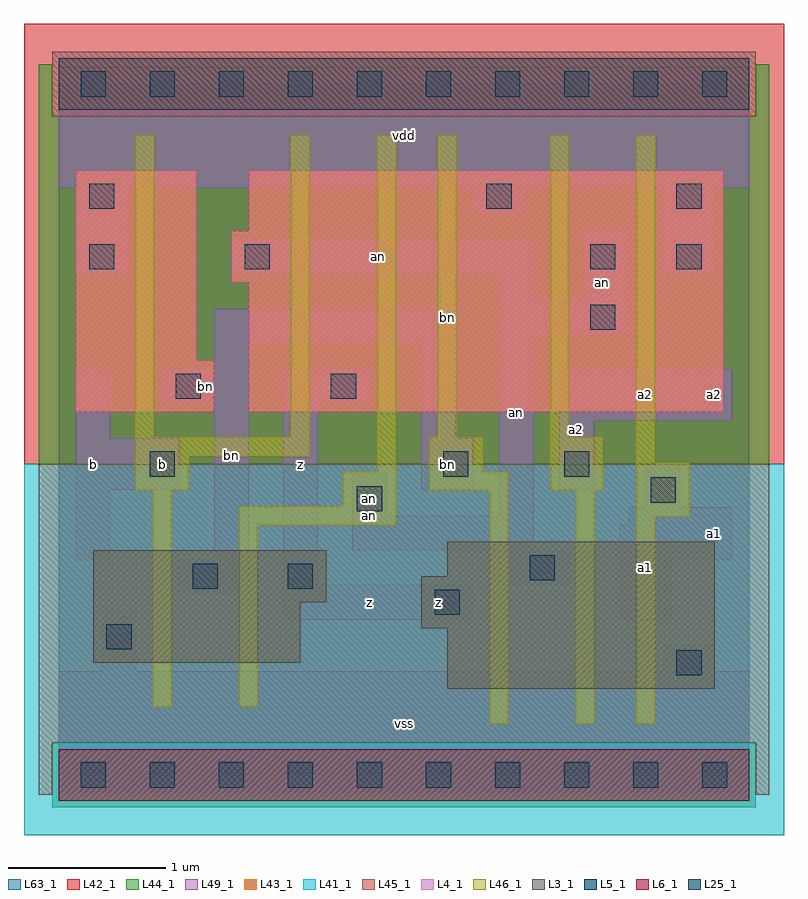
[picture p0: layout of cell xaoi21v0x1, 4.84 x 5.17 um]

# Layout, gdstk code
import gdstk
lib = gdstk.Library(unit=1e-6, precision=1e-09)
def R(c, l, rs):  # rectangles x0, y0, x1, y1
    for r in rs: c.add(gdstk.rectangle(r[:2], r[2:], *l))
def A(c, l, x, y, w, h, nx, ny, dx, dy):  # array of equal rectangles
    R(c, l, [(x+i*dx, y+j*dy, x+i*dx+w, y+j*dy+h) for i in range(nx) for j in range(ny)])
L3_1 = (3, 1)
L4_1 = (4, 1)
L5_1 = (5, 1)
L6_1 = (6, 1)
L25_1 = (25, 1)
L41_1 = (41, 1)
L42_1 = (42, 1)
L43_1 = (43, 1)
L44_1 = (44, 1)
L45_1 = (45, 1)
L46_1 = (46, 1)
L49_1 = (49, 1)
L63_1 = (63, 1)

xaoi21v0x1 = lib.new_cell('xaoi21v0x1')
R(xaoi21v0x1, L3_1, [(2.475,0.55,4.18,0.935), (0.22,0.715,1.54,1.1), (2.31,0.935,4.18,1.265), (0.22,1.1,1.705,1.43), (2.475,1.265,4.18,1.485)])
R(xaoi21v0x1, L4_1, [(0.11,2.31,0.99,2.64), (1.21,2.31,4.235,3.135), (0.11,2.64,0.88,3.85), (1.1,3.135,4.235,3.465), (1.21,3.465,4.235,3.85)])
R(xaoi21v0x1, L5_1, [(0,4.235,4.4,4.565)])
R(xaoi21v0x1, L6_1, [(0,-0.165,4.4,0.165)])
A(xaoi21v0x1, L25_1, 0.14, -0.08, 0.16, 0.16, 10, 2, 0.44, 4.4)
R(xaoi21v0x1, L25_1, [(3.935,0.635,4.095,0.795), (0.305,0.8,0.465,0.96), (2.395,1.02,2.555,1.18), (0.855,1.185,1.015,1.345), (1.46,1.185,1.62,1.345), (3,1.24,3.16,1.4), (1.9,1.68,2.06,1.84), (3.77,1.735,3.93,1.895), (0.58,1.9,0.74,2.06), (2.45,1.9,2.61,2.06), (3.22,1.9,3.38,2.06), (0.745,2.395,0.905,2.555), (1.735,2.395,1.895,2.555), (3.385,2.835,3.545,2.995), (0.195,3.22,0.355,3.38), (1.185,3.22,1.345,3.38), (3.385,3.22,3.545,3.38), (3.935,3.22,4.095,3.38), (0.195,3.605,0.355,3.765), (2.725,3.605,2.885,3.765), (3.935,3.605,4.095,3.765)])
R(xaoi21v0x1, L41_1, [(-0.22,-0.385,4.62,1.98)])
R(xaoi21v0x1, L42_1, [(-0.22,1.98,4.62,4.785)])
R(xaoi21v0x1, L43_1, [(0,-0.165,4.4,0.165), (2.475,0.55,4.18,0.935), (0.22,0.715,1.54,1.1), (2.31,0.935,4.18,1.265), (0.22,1.1,1.705,1.43), (2.475,1.265,4.18,1.485), (0.11,2.31,0.99,2.64), (1.21,2.31,4.235,3.135), (0.11,2.64,0.88,3.85), (1.1,3.135,4.235,3.465), (1.21,3.465,4.235,3.85), (0,4.235,4.4,4.565)])
R(xaoi21v0x1, L44_1, [(-0.04,-0.205,4.44,0.205), (-0.125,1.98,4.525,4.195), (-0.125,4.195,-0.04,4.525), (4.44,4.195,4.525,4.525)])
R(xaoi21v0x1, L45_1, [(-0.125,-0.125,-0.04,0.205), (4.44,-0.125,4.525,0.205), (-0.125,0.205,4.525,1.98), (-0.04,4.195,4.44,4.605)])
R(xaoi21v0x1, L46_1, [(2.745,0.325,2.865,1.81), (3.295,0.325,3.415,1.81), (3.68,0.325,3.8,1.645), (0.6,0.435,0.72,1.81), (1.15,0.435,1.27,1.59), (1.15,1.59,2.15,1.71), (3.68,1.645,4.02,1.985), (1.81,1.71,2.15,1.93), (0.49,1.81,0.83,2.03), (2.36,1.81,2.865,1.93), (3.13,1.81,3.47,2.15), (2.03,1.93,2.15,4.075), (2.36,1.93,2.7,2.15), (3.68,1.985,3.8,4.075), (0.49,2.03,1.6,2.15), (0.49,2.15,0.61,4.075), (1.48,2.15,1.6,4.075), (2.415,2.15,2.535,4.075), (3.13,2.15,3.25,4.075)])
R(xaoi21v0x1, L49_1, [(0,-0.11,4.4,0.66), (0.275,0.66,0.495,1.045), (3.85,0.66,4.18,0.825), (1.43,0.99,2.64,1.21), (3.575,0.99,3.905,1.375), (0.77,1.155,1.21,1.375), (1.43,1.21,1.65,2.365), (2.805,1.21,3.245,1.43), (0.11,1.375,0.33,1.815), (0.99,1.375,1.21,2.365), (3.575,1.375,4.29,1.595), (1.87,1.43,3.025,1.65), (3.63,1.595,4.29,1.705), (1.87,1.65,2.09,1.925), (2.805,1.65,3.025,2.805), (3.74,1.705,3.96,1.98), (0.11,1.815,0.77,2.145), (2.31,1.815,2.64,2.145), (3.19,1.815,3.41,2.255), (0.11,2.145,0.33,2.585), (2.31,2.145,2.53,2.75), (3.19,2.255,4.29,2.585), (0.66,2.365,1.21,2.585), (1.43,2.365,1.98,2.585), (0.99,2.585,1.21,2.75), (0.99,2.75,2.53,2.97), (2.805,2.805,3.63,3.025), (2.805,3.025,3.025,3.19), (3.355,3.025,3.63,3.465), (0.11,3.19,0.44,3.74), (1.1,3.19,3.025,3.41), (3.85,3.19,4.18,3.74), (2.64,3.575,2.97,3.74), (0,3.74,4.4,4.51)])
R(xaoi21v0x1, L63_1, [(0,0,4.4,4.4)])
xaoi21v0x1.add(gdstk.Label('an', (1.98,1.76), layer=49, texttype=1))
xaoi21v0x1.add(gdstk.Label('bn', (2.475,2.915), layer=46, texttype=1))
xaoi21v0x1.add(gdstk.Label('b', (0.22,1.98), layer=49, texttype=1))
xaoi21v0x1.add(gdstk.Label('b', (0.66,1.98), layer=49, texttype=1))
xaoi21v0x1.add(gdstk.Label('bn', (0.935,2.475), layer=49, texttype=1))
xaoi21v0x1.add(gdstk.Label('z', (1.54,1.98), layer=49, texttype=1))
xaoi21v0x1.add(gdstk.Label('bn', (1.1,2.035), layer=49, texttype=1))
xaoi21v0x1.add(gdstk.Label('vss', (2.2,0.33), layer=49, texttype=1))
xaoi21v0x1.add(gdstk.Label('z', (2.42,1.1), layer=49, texttype=1))
xaoi21v0x1.add(gdstk.Label('z', (1.98,1.1), layer=49, texttype=1))
xaoi21v0x1.add(gdstk.Label('an', (1.98,1.65), layer=49, texttype=1))
xaoi21v0x1.add(gdstk.Label('vdd', (2.2,4.07), layer=49, texttype=1))
xaoi21v0x1.add(gdstk.Label('bn', (2.475,1.98), layer=49, texttype=1))
xaoi21v0x1.add(gdstk.Label('a2', (3.3,2.2), layer=49, texttype=1))
xaoi21v0x1.add(gdstk.Label('an', (2.915,2.31), layer=49, texttype=1))
xaoi21v0x1.add(gdstk.Label('an', (2.035,3.3), layer=49, texttype=1))
xaoi21v0x1.add(gdstk.Label('a1', (3.74,1.32), layer=49, texttype=1))
xaoi21v0x1.add(gdstk.Label('a1', (4.18,1.54), layer=49, texttype=1))
xaoi21v0x1.add(gdstk.Label('a2', (3.74,2.42), layer=49, texttype=1))
xaoi21v0x1.add(gdstk.Label('a2', (4.18,2.42), layer=49, texttype=1))
xaoi21v0x1.add(gdstk.Label('an', (3.465,3.135), layer=49, texttype=1))

lib.write_gds('xaoi21v0x1.gds')
